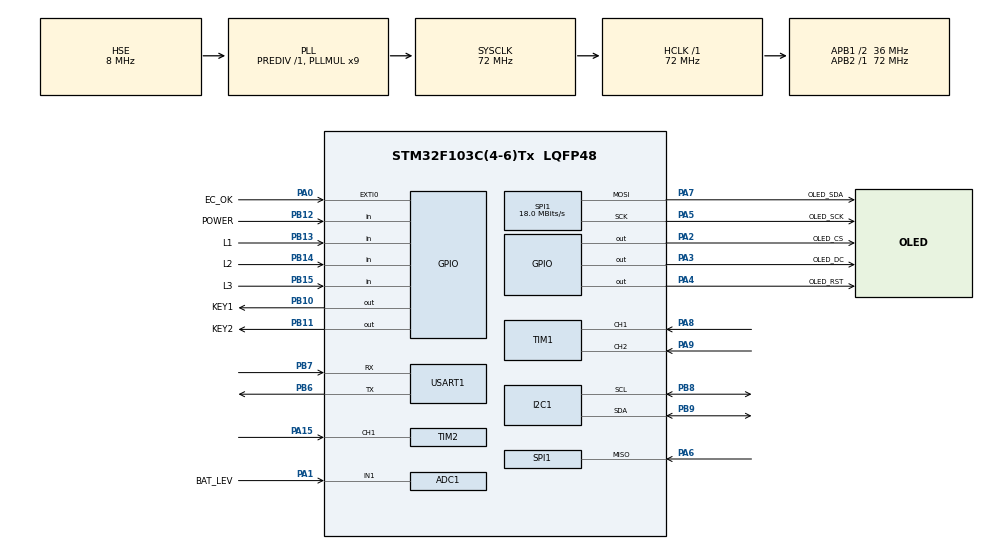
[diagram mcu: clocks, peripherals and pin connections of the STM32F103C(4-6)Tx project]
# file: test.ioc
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ADC1.Channel-1\#ChannelRegularConversion=ADC_CHANNEL_1
ADC1.NbrOfConversionFlag=1
ADC1.Rank-1\#ChannelRegularConversion=1
ADC1.SamplingTime-1\#ChannelRegularConversion=ADC_SAMPLETIME_1CYCLE_5
ADC1.master=1
Dma.Request0=SPI1_TX
Dma.SPI1_TX.0.Direction=DMA_MEMORY_TO_PERIPH
Dma.SPI1_TX.0.Instance=DMA1_Channel3
Dma.SPI1_TX.0.MemDataAlignment=DMA_MDATAALIGN_BYTE
Dma.SPI1_TX.0.MemInc=DMA_MINC_ENABLE
Dma.SPI1_TX.0.Mode=DMA_NORMAL
Dma.SPI1_TX.0.PeriphDataAlignment=DMA_PDATAALIGN_BYTE
Dma.SPI1_TX.0.PeriphInc=DMA_PINC_DISABLE
Dma.SPI1_TX.0.Priority=DMA_PRIORITY_LOW
Mcu.Family=STM32F1
Mcu.Name=STM32F103C(4-6)Tx
Mcu.Package=LQFP48
NVIC.DMA1_Channel3_IRQn=true\:0\:0\:false\:false\:true\:false\:true\:true
NVIC.EXTI0_IRQn=true\:5\:0\:true\:false\:true\:true\:true\:true
NVIC.PriorityGroup=NVIC_PRIORITYGROUP_4
PA0-WKUP.GPIO_Label=EC_OK
PA0-WKUP.GPIO_PuPd=GPIO_PULLDOWN
PA0-WKUP.Signal=GPXTI0
PA1.GPIO_Label=BAT_LEV
PA1.Signal=ADCx_IN1
PA13.Mode=Serial_Wire
PA13.Signal=SYS_JTMS-SWDIO
PA14.Mode=Serial_Wire
PA14.Signal=SYS_JTCK-SWCLK
PA15.Signal=S_TIM2_CH1_ETR
PA2.GPIO_Label=OLED_CS
PA2.GPIO_PuPd=GPIO_NOPULL
PA2.GPIO_Speed=GPIO_SPEED_FREQ_LOW
PA2.PinState=GPIO_PIN_RESET
PA2.Signal=GPIO_Output
PA3.GPIO_Label=OLED_DC
PA3.GPIO_PuPd=GPIO_NOPULL
PA3.GPIO_Speed=GPIO_SPEED_FREQ_LOW
PA3.PinState=GPIO_PIN_RESET
PA3.Signal=GPIO_Output
PA4.GPIO_Label=OLED_RST
PA4.GPIO_PuPd=GPIO_NOPULL
PA4.GPIO_Speed=GPIO_SPEED_FREQ_LOW
PA4.PinState=GPIO_PIN_RESET
PA4.Signal=GPIO_Output
PA5.GPIO_Label=OLED_SCK
PA5.Mode=Full_Duplex_Master
PA5.Signal=SPI1_SCK
PA6.Mode=Full_Duplex_Master
PA6.Signal=SPI1_MISO
PA7.GPIO_Label=OLED_SDA
PA7.Mode=Full_Duplex_Master
PA7.Signal=SPI1_MOSI
PA8.GPIO_PuPd=GPIO_PULLUP
PA8.Signal=S_TIM1_CH1
PA9.GPIO_PuPd=GPIO_PULLUP
PA9.Signal=S_TIM1_CH2
PB10.GPIO_Label=KEY1
PB10.GPIO_PuPd=GPIO_PULLDOWN
PB10.Signal=GPIO_Output
PB11.GPIO_Label=KEY2
PB11.GPIO_PuPd=GPIO_PULLDOWN
PB11.Signal=GPIO_Output
PB12.GPIO_Label=POWER
PB12.Signal=GPIO_Input
PB13.GPIO_Label=L1
PB13.Signal=GPIO_Input
PB14.GPIO_Label=L2
PB14.Signal=GPIO_Input
PB15.GPIO_Label=L3
PB15.Signal=GPIO_Input
PB6.Mode=Asynchronous
PB6.Signal=USART1_TX
PB7.Mode=Asynchronous
PB7.Signal=USART1_RX
PB8.Mode=I2C
PB8.Signal=I2C1_SCL
PB9.Mode=I2C
PB9.Signal=I2C1_SDA
PC14-OSC32_IN.Mode=LSE-External-Oscillator
PC14-OSC32_IN.Signal=RCC_OSC32_IN
PC15-OSC32_OUT.Mode=LSE-External-Oscillator
PC15-OSC32_OUT.Signal=RCC_OSC32_OUT
PD0-OSC_IN.Mode=HSE-External-Oscillator
PD0-OSC_IN.Signal=RCC_OSC_IN
PD1-OSC_OUT.Mode=HSE-External-Oscillator
PD1-OSC_OUT.Signal=RCC_OSC_OUT
ProjectManager.HeapSize=0x200
ProjectManager.StackSize=0x400
ProjectManager.TargetToolchain=MDK-ARM V5.32
RCC.ADCPresc=RCC_ADCPCLK2_DIV6
RCC.AHBFreq_Value=72000000
RCC.APB1CLKDivider=RCC_HCLK_DIV2
RCC.APB1Freq_Value=36000000
RCC.APB1TimFreq_Value=72000000
RCC.APB2Freq_Value=72000000
RCC.APB2TimFreq_Value=72000000
RCC.HCLKFreq_Value=72000000
RCC.PLLMUL=RCC_PLL_MUL9
RCC.PLLSourceVirtual=RCC_PLLSOURCE_HSE
RCC.SYSCLKFreq_VALUE=72000000
RCC.SYSCLKSource=RCC_SYSCLKSOURCE_PLLCLK
RCC.USBFreq_Value=72000000
SH.ADCx_IN1.0=ADC1_IN1,IN1
SH.S_TIM1_CH1.0=TIM1_CH1,Encoder_Interface
SH.S_TIM1_CH2.0=TIM1_CH2,Encoder_Interface
SH.S_TIM2_CH1_ETR.0=TIM2_CH1,Input_Capture1_from_TI1
SPI1.BaudRatePrescaler=SPI_BAUDRATEPRESCALER_4
SPI1.CalculateBaudRate=18.0 MBits/s
SPI1.Direction=SPI_DIRECTION_2LINES
SPI1.Mode=SPI_MODE_MASTER
SPI1.VirtualType=VM_MASTER
TIM1.EncoderMode=TIM_ENCODERMODE_TI12
TIM1.IC1Filter=15
TIM1.IC1Polarity=TIM_ICPOLARITY_RISING
TIM1.IC2Filter=15
TIM1.IC2Polarity=TIM_ICPOLARITY_RISING
TIM2.Channel-Input_Capture1_from_TI1=TIM_CHANNEL_1
USART1.VirtualMode=VM_ASYNC
VP_RTC_VS_RTC_Activate.Mode=RTC_Enabled
VP_RTC_VS_RTC_Calendar.Mode=RTC_Calendar
board=custom

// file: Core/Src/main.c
/* USER CODE BEGIN Header */
/**
  ******************************************************************************
  * @file           : main.c
  * @brief          : Main program body
  ******************************************************************************
  * @attention
  *
  * Copyright (c) 2025 STMicroelectronics.
  * All rights reserved.
  *
  * This software is licensed under terms that can be found in the LICENSE file
  * in the root directory of this software component.
  * If no LICENSE file comes with this software, it is provided AS-IS.
  *
  ******************************************************************************
  */
/* USER CODE END Header */
#include "main.h"
#include "adc.h"
#include "dma.h"
#include "i2c.h"
#include "rtc.h"
#include "spi.h"
#include "tim.h"
#include "usart.h"
#include "gpio.h"

/* USER CODE BEGIN Includes */
#include "delay.h"
#include "light_task.h"
#include "ds18b20.h"
#include "oled.h"
//#include "bmp.h"
#include "all_task.h"

/* USER CODE END Includes */

/* USER CODE BEGIN PTD */

uint32_t start_time = 0;

/* USER CODE END PTD */

void SystemClock_Config(void);

/* USER CODE BEGIN 0 */

static uint32_t loop_count = 0;
static uint64_t total_elapsed_cycles = 0;
static uint32_t last_tick = 0;
void ShowRunTime(){
	uint32_t elapsed_cycles = (DWT->CYCCNT - start_time) & 0xFFFFFFFF;
	total_elapsed_cycles += elapsed_cycles;
	loop_count++;
	uint32_t current_tick = HAL_GetTick();
	if (current_tick - last_tick >= 1000) {
			last_tick = current_tick;
			uint32_t avg_us = (total_elapsed_cycles / loop_count)/SYSClock_MHZ;
			OLED_ShowString(86, 48, "T:", 12, 1);
			OLED_ShowNum(98, 48, avg_us, 4, 12, 1);
			OLED_ShowString(122, 48, "u", 12, 1);
			total_elapsed_cycles = 0;
			loop_count = 0;
	}
}

void AllInit()
{
	//所有系统组件初始化
  HAL_Init();
  SystemClock_Config();
  MX_GPIO_Init();
  MX_DMA_Init();
  MX_I2C1_Init();
  MX_TIM1_Init();
  MX_USART1_UART_Init();
  MX_ADC1_Init();
  MX_TIM2_Init();
  MX_SPI1_Init();
//  MX_RTC_Init();
	DWT_Init();
	HAL_TIM_Encoder_Start(&htim1, TIM_CHANNEL_ALL);
	//重新开启屏幕显示
	OLED_Init();
	OLED_DisPlay_On();
	OLED_ColorTurn(0);
  OLED_DisplayTurn(0);
}

void AllStop()
{
	//关闭屏幕显示
	OLED_DisPlay_Off();
	//所有系统组件停止
	HAL_TIM_Encoder_Stop(&htim1, TIM_CHANNEL_ALL);
	HAL_ADC_Stop(&hadc1);
	HAL_UART_DeInit(&huart1);
	HAL_SPI_DeInit(&hspi1);
	HAL_I2C_DeInit(&hi2c1);
	__HAL_RCC_GPIOA_CLK_DISABLE();
	__HAL_RCC_GPIOB_CLK_DISABLE();
	__HAL_RCC_GPIOC_CLK_DISABLE();

}

void Reset_RTC_Time(void)
{
    RTC_TimeTypeDef sTime = {0};
    RTC_DateTypeDef sDate = {0};
		sTime.Hours = 0x0;
		sTime.Minutes = 0x0;
		sTime.Seconds = 0x0;

		if (HAL_RTC_SetTime(&hrtc, &sTime, RTC_FORMAT_BCD) != HAL_OK)
		{
			Error_Handler();
		}
		sDate.WeekDay = RTC_WEEKDAY_MONDAY;
		sDate.Month = RTC_MONTH_JANUARY;
		sDate.Date = 0x1;
		sDate.Year = 0x0;

		if (HAL_RTC_SetDate(&hrtc, &sDate, RTC_FORMAT_BCD) != HAL_OK)
		{
			Error_Handler();
		}
}

/* USER CODE END 0 */

int main(void)
{

  /* MCU Configuration--------------------------------------------------------*/

  /* Reset of all peripherals, Initializes the Flash interface and the Systick. */
  HAL_Init();

  /* Configure the system clock */
  SystemClock_Config();

  /* Initialize all configured peripherals */
  MX_GPIO_Init();
  MX_DMA_Init();
  MX_I2C1_Init();
  MX_TIM1_Init();
  MX_USART1_UART_Init();
  MX_ADC1_Init();
  MX_TIM2_Init();
  MX_SPI1_Init();
  MX_RTC_Init();
  /* USER CODE BEGIN 2 */
	DWT_Init();
	HAL_TIM_Encoder_Start(&htim1, TIM_CHANNEL_ALL);
	DS18B20_Init();
	OLED_Init();
	OLED_DisPlay_On();
	OLED_ColorTurn(0);
  OLED_DisplayTurn(0);
	printf("system_ok\r\n");
  /* USER CODE END 2 */

  /* Infinite loop */
  /* USER CODE BEGIN WHILE */

	ShowTime_Task(NULL);
	ShowBATLev_Task(NULL);
	ShowTEMP_Task(NULL);
	ShowFAN_Task(NULL);
	Test_Delay_Task(NULL);

	bool Time_Task_Run = 0;
  while (1)
  {
		start_time = DWT->CYCCNT;

    int32_t count = __HAL_TIM_GET_COUNTER(&htim1);
    count = count / 12;
		if(count >=4)
		{
			count = 0;
			__HAL_TIM_SET_COUNTER(&htim1,0);
		}
		if(HAL_GPIO_ReadPin(GPIOA,GPIO_PIN_0) == 1)
		{
			while(HAL_GPIO_ReadPin(GPIOA,GPIO_PIN_0) == 1);
			Time_Task_Run = !Time_Task_Run;
			Reset_RTC_Time();
		}
		if(Time_Task_Run)
		{
			DelayCall(ShowTime_Task, (void *)&Time_Task_Run, 500);
		}
		else
		{
			DelayCall(ShowTime_Task, (void *)&Time_Task_Run, 500);
		}
    DelayCall(ShowBATLev_Task, NULL, 3000);
    DelayCall(ShowTEMP_Task, NULL, 1000);
    DelayCall(ShowFAN_Task, (void *)&count, 16);
		DelayCall(Test_Delay_Task,NULL, 200);
    OLED_Refresh();
		ShowRunTime();

		RTC_TimeTypeDef sTime;
    RTC_DateTypeDef sDate;
    HAL_RTC_GetTime(&hrtc, &sTime, RTC_FORMAT_BIN);
    HAL_RTC_GetDate(&hrtc, &sDate, RTC_FORMAT_BIN);

		if(sTime.Seconds >=6)
		{
			AllStop();
//			HAL_PWR_EnterSTOPMode(PWR_LOWPOWERREGULATOR_ON,PWR_STOPENTRY_WFI);
//			AllInit();
			__HAL_PWR_CLEAR_FLAG(PWR_FLAG_WU);
			HAL_PWR_EnableWakeUpPin(PWR_WAKEUP_PIN1);
			HAL_PWR_EnterSTANDBYMode();
		}
    /* USER CODE END WHILE */

  }
}

void SystemClock_Config(void)
{
  RCC_OscInitTypeDef RCC_OscInitStruct = {0};
  RCC_ClkInitTypeDef RCC_ClkInitStruct = {0};
  RCC_PeriphCLKInitTypeDef PeriphClkInit = {0};

  /** Initializes the RCC Oscillators according to the specified parameters
  * in the RCC_OscInitTypeDef structure.
  */
  RCC_OscInitStruct.OscillatorType = RCC_OSCILLATORTYPE_LSI|RCC_OSCILLATORTYPE_HSE;
  RCC_OscInitStruct.HSEState = RCC_HSE_ON;
  RCC_OscInitStruct.HSEPredivValue = RCC_HSE_PREDIV_DIV1;
  RCC_OscInitStruct.HSIState = RCC_HSI_ON;
  RCC_OscInitStruct.LSIState = RCC_LSI_ON;
  RCC_OscInitStruct.PLL.PLLState = RCC_PLL_ON;
  RCC_OscInitStruct.PLL.PLLSource = RCC_PLLSOURCE_HSE;
  RCC_OscInitStruct.PLL.PLLMUL = RCC_PLL_MUL9;
  if (HAL_RCC_OscConfig(&RCC_OscInitStruct) != HAL_OK)
  {
    Error_Handler();
  }

  /** Initializes the CPU, AHB and APB buses clocks
  */
  RCC_ClkInitStruct.ClockType = RCC_CLOCKTYPE_HCLK|RCC_CLOCKTYPE_SYSCLK
                              |RCC_CLOCKTYPE_PCLK1|RCC_CLOCKTYPE_PCLK2;
  RCC_ClkInitStruct.SYSCLKSource = RCC_SYSCLKSOURCE_PLLCLK;
  RCC_ClkInitStruct.AHBCLKDivider = RCC_SYSCLK_DIV1;
  RCC_ClkInitStruct.APB1CLKDivider = RCC_HCLK_DIV2;
  RCC_ClkInitStruct.APB2CLKDivider = RCC_HCLK_DIV1;

  if (HAL_RCC_ClockConfig(&RCC_ClkInitStruct, FLASH_LATENCY_2) != HAL_OK)
  {
    Error_Handler();
  }
  PeriphClkInit.PeriphClockSelection = RCC_PERIPHCLK_RTC|RCC_PERIPHCLK_ADC;
  PeriphClkInit.RTCClockSelection = RCC_RTCCLKSOURCE_LSI;
  PeriphClkInit.AdcClockSelection = RCC_ADCPCLK2_DIV6;
  if (HAL_RCCEx_PeriphCLKConfig(&PeriphClkInit) != HAL_OK)
  {
    Error_Handler();
  }
}

void Error_Handler(void)
{
  __disable_irq();
  while (1)
  {
  }
}
